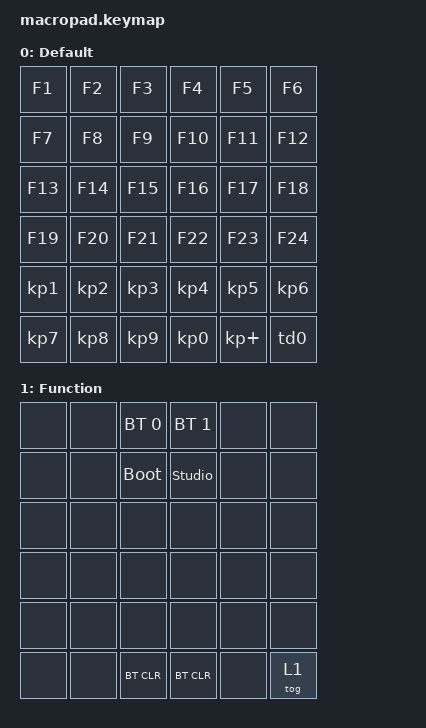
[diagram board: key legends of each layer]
#include <behaviors.dtsi>
#include <dt-bindings/zmk/keys.h>
#include <dt-bindings/zmk/bt.h>

/ {
    behaviors {
        td0: tap_dance_0 {
            compatible = "zmk,behavior-tap-dance";
            #binding-cells = <0>;
            tapping-term-ms = <135>;
            bindings = <&kp KP_EQUAL>, <&tog 1>;
        };
    };

    keymap {
        compatible = "zmk,keymap";

        default_layer {
            display-name = "Default";

            bindings = <
                &kp F1       &kp F2        &kp F3      &kp F4       &kp F5       &kp F6
                &kp F7       &kp F8        &kp F9      &kp F10      &kp F11      &kp F12
                &kp F13      &kp F14       &kp F15     &kp F16      &kp F17      &kp F18
                &kp F19      &kp F20       &kp F21     &kp F22      &kp F23      &kp F24
                &kp KP_N1    &kp KP_N2     &kp KP_N3   &kp KP_N4    &kp KP_N5    &kp KP_N6
                &kp KP_N7    &kp KP_N8     &kp KP_N9   &kp KP_N0    &kp KP_PLUS  &td0
            >;
        };

        function_layer {
            display-name = "Function";

            bindings = <
                &none           &none           &bt BT_SEL 0    &bt BT_SEL 1   &none         &none   
                &none           &none           &bootloader     &studio_unlock &none         &none
                &none           &none           &none           &none          &none         &none
                &none           &none           &none           &none          &none         &none
                &none           &none           &none           &none          &none         &none
                &none           &none           &bt BT_CLR      &bt BT_CLR     &none         &tog 1

            >;
        };
    };
};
